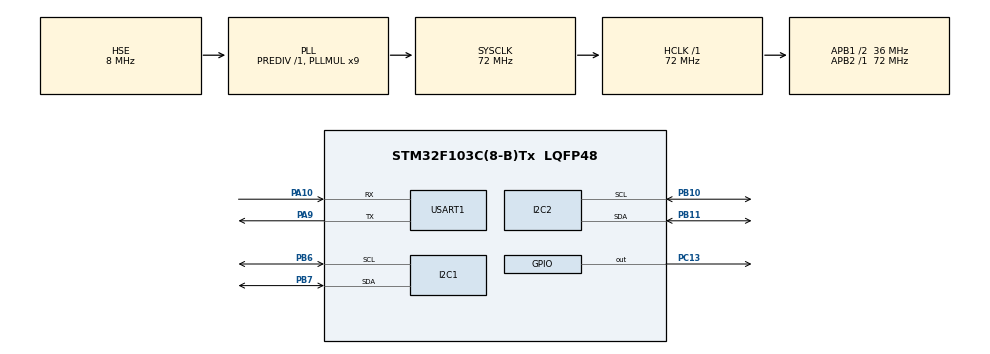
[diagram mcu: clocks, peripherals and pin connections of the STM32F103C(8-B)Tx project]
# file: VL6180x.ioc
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Mcu.Family=STM32F1
Mcu.Name=STM32F103C(8-B)Tx
Mcu.Package=LQFP48
NVIC.PriorityGroup=NVIC_PRIORITYGROUP_4
PA10.Mode=Asynchronous
PA10.Signal=USART1_RX
PA13.Mode=Serial_Wire
PA13.Signal=SYS_JTMS-SWDIO
PA14.Mode=Serial_Wire
PA14.Signal=SYS_JTCK-SWCLK
PA9.Mode=Asynchronous
PA9.Signal=USART1_TX
PB10.Mode=I2C
PB10.Signal=I2C2_SCL
PB11.Mode=I2C
PB11.Signal=I2C2_SDA
PB6.Mode=I2C
PB6.Signal=I2C1_SCL
PB7.Mode=I2C
PB7.Signal=I2C1_SDA
PC13-TAMPER-RTC.Signal=GPIO_Output
PC14-OSC32_IN.Mode=LSE-External-Oscillator
PC14-OSC32_IN.Signal=RCC_OSC32_IN
PC15-OSC32_OUT.Mode=LSE-External-Oscillator
PC15-OSC32_OUT.Signal=RCC_OSC32_OUT
PD0-OSC_IN.Mode=HSE-External-Oscillator
PD0-OSC_IN.Signal=RCC_OSC_IN
PD1-OSC_OUT.Mode=HSE-External-Oscillator
PD1-OSC_OUT.Signal=RCC_OSC_OUT
ProjectManager.HeapSize=0x200
ProjectManager.StackSize=0x400
ProjectManager.TargetToolchain=CMake
RCC.AHBFreq_Value=72000000
RCC.APB1CLKDivider=RCC_HCLK_DIV2
RCC.APB1Freq_Value=36000000
RCC.APB1TimFreq_Value=72000000
RCC.APB2Freq_Value=72000000
RCC.APB2TimFreq_Value=72000000
RCC.HCLKFreq_Value=72000000
RCC.PLLMUL=RCC_PLL_MUL9
RCC.PLLSourceVirtual=RCC_PLLSOURCE_HSE
RCC.SYSCLKFreq_VALUE=72000000
RCC.SYSCLKSource=RCC_SYSCLKSOURCE_PLLCLK
RCC.USBFreq_Value=72000000
USART1.VirtualMode=VM_ASYNC
board=custom

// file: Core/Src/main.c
/* USER CODE BEGIN Header */
/**
  ******************************************************************************
  * @file           : main.c
  * @brief          : Main program body
  ******************************************************************************
  * @attention
  *
  * Copyright (c) 2026 STMicroelectronics.
  * All rights reserved.
  *
  * This software is licensed under terms that can be found in the LICENSE file
  * in the root directory of this software component.
  * If no LICENSE file comes with this software, it is provided AS-IS.
  *
  ******************************************************************************
  */
/* USER CODE END Header */
#include "main.h"
#include "i2c.h"
#include "usart.h"
#include "gpio.h"

/* USER CODE BEGIN Includes */
#include <stdio.h>
/* USER CODE END Includes */

void SystemClock_Config(void);
/* USER CODE BEGIN PFP */
void VL_Write(uint16_t reg, uint8_t data) {
    HAL_I2C_Mem_Write(&hi2c1, 0x52, reg, I2C_MEMADD_SIZE_16BIT, &data, 1, 100);
}

uint8_t VL_Read(uint16_t reg) {
    uint8_t data = 0;
    HAL_I2C_Mem_Read(&hi2c1, 0x52, reg, I2C_MEMADD_SIZE_16BIT, &data, 1, 100);
    return data;
}

// 官方要求的必要初始化
void VL_Init() {
    // 检查 ID 是否为 0xB4
    while(VL_Read(0x000) != 0xB4) {
        HAL_Delay(100); // 如果 ID 不对，就在这死循环，检查接线
    }

    // 以下是必须加载的设置
    VL_Write(0x0207, 0x01); VL_Write(0x0208, 0x01);
    VL_Write(0x0096, 0x00); VL_Write(0x0097, 0xfd);
    VL_Write(0x00e3, 0x00); VL_Write(0x00e4, 0x04);
    VL_Write(0x00e6, 0x01); VL_Write(0x00e7, 0x03);
    VL_Write(0x0015, 0x07); // 清除中断
}
/* USER CODE END PFP */

int main(void)
{

  /* MCU Configuration--------------------------------------------------------*/

  /* Reset of all peripherals, Initializes the Flash interface and the Systick. */
  HAL_Init();

  /* Configure the system clock */
  SystemClock_Config();

  /* Initialize all configured peripherals */
  MX_GPIO_Init();
  MX_I2C1_Init();
  MX_I2C2_Init();
  MX_USART1_UART_Init();
  /* USER CODE BEGIN 2 */
  VL_Init(); // 初始化
  /* USER CODE END 2 */

  /* Infinite loop */
  /* USER CODE BEGIN WHILE */
while (1)
{
    HAL_GPIO_TogglePin(GPIOC, GPIO_PIN_13);
    HAL_Delay(500);
    //1. 发起测距
    VL_Write(0x018, 0x01);

    // 2. 等待测量完成 (判断 0x04F 的第 2 位)
    while((VL_Read(0x04F) & 0x04) == 0);

    // 3. 读取结果 (寄存器 0x062)
    uint8_t distance = VL_Read(0x062);

    // 4. 清除标志位
    VL_Write(0x015, 0x07);

    // 5. 串口发送（发送给 ESP32-S3）
    char buf[20];
    int len = sprintf(buf, "Dist: %d mm\r\n", distance);
    HAL_UART_Transmit(&huart1, (uint8_t*)buf, len, 100);

    HAL_Delay(100);
    /* USER CODE END WHILE */

  }
}

void SystemClock_Config(void)
{
  RCC_OscInitTypeDef RCC_OscInitStruct = {0};
  RCC_ClkInitTypeDef RCC_ClkInitStruct = {0};

  /** Initializes the RCC Oscillators according to the specified parameters
  * in the RCC_OscInitTypeDef structure.
  */
  RCC_OscInitStruct.OscillatorType = RCC_OSCILLATORTYPE_HSE;
  RCC_OscInitStruct.HSEState = RCC_HSE_ON;
  RCC_OscInitStruct.HSEPredivValue = RCC_HSE_PREDIV_DIV1;
  RCC_OscInitStruct.HSIState = RCC_HSI_ON;
  RCC_OscInitStruct.PLL.PLLState = RCC_PLL_ON;
  RCC_OscInitStruct.PLL.PLLSource = RCC_PLLSOURCE_HSE;
  RCC_OscInitStruct.PLL.PLLMUL = RCC_PLL_MUL9;
  if (HAL_RCC_OscConfig(&RCC_OscInitStruct) != HAL_OK)
  {
    Error_Handler();
  }

  /** Initializes the CPU, AHB and APB buses clocks
  */
  RCC_ClkInitStruct.ClockType = RCC_CLOCKTYPE_HCLK|RCC_CLOCKTYPE_SYSCLK
                              |RCC_CLOCKTYPE_PCLK1|RCC_CLOCKTYPE_PCLK2;
  RCC_ClkInitStruct.SYSCLKSource = RCC_SYSCLKSOURCE_PLLCLK;
  RCC_ClkInitStruct.AHBCLKDivider = RCC_SYSCLK_DIV1;
  RCC_ClkInitStruct.APB1CLKDivider = RCC_HCLK_DIV2;
  RCC_ClkInitStruct.APB2CLKDivider = RCC_HCLK_DIV1;

  if (HAL_RCC_ClockConfig(&RCC_ClkInitStruct, FLASH_LATENCY_2) != HAL_OK)
  {
    Error_Handler();
  }
}

void Error_Handler(void)
{
  __disable_irq();
  while (1)
  {
  }
}
